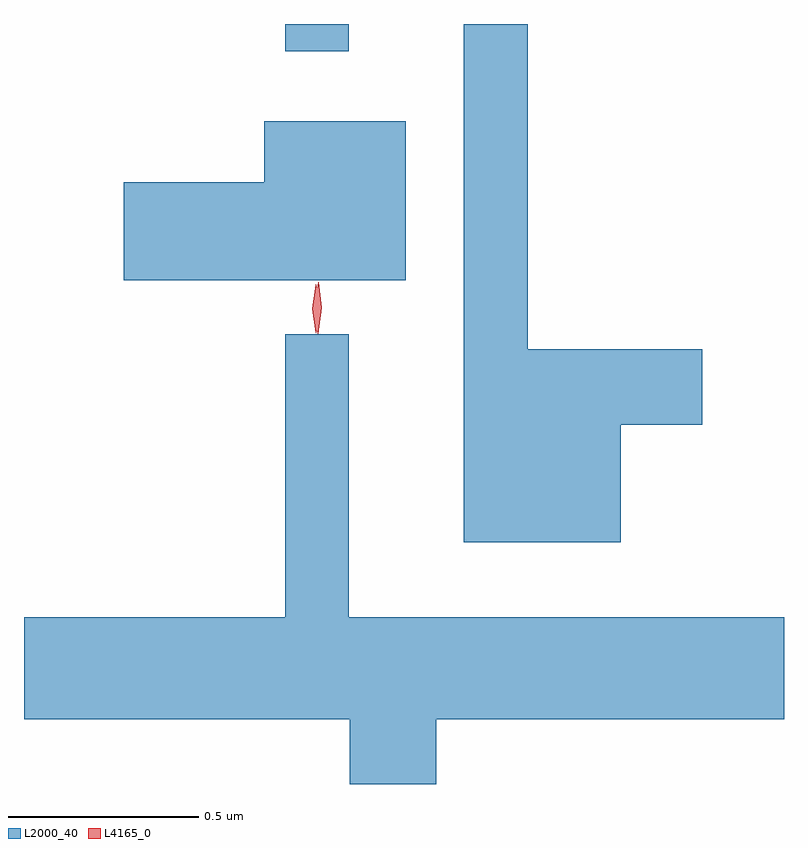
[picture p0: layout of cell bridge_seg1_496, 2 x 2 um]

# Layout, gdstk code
import gdstk
lib = gdstk.Library(unit=1e-6, precision=1e-09)
def R(c, l, rs):  # rectangles x0, y0, x1, y1
    for r in rs: c.add(gdstk.rectangle(r[:2], r[2:], *l))
def P(c, l, *ps):  # polygons
    for p in ps: c.add(gdstk.Polygon(p, *l))
L2000_40 = (2000, 40)
L4165_0 = (4165, 0)

bridge_seg1_496 = lib.new_cell('bridge_seg1_496')
R(bridge_seg1_496, L2000_40, [(511.351,850.273,511.519,850.345)])
P(bridge_seg1_496, L2000_40, [(512.234,849.291),(512.449,849.291),(512.449,849.489),(511.989,849.489),(511.989,850.345),(511.821,850.345),(511.821,848.981),(512.234,848.981)],
  [(511.669,850.089),(511.296,850.089),(511.296,849.929),(510.926,849.929),(510.926,849.671),(511.669,849.671)],
  [(511.749,848.516),(512.664,848.516),(512.664,848.784),(511.519,848.784),(511.519,849.528),(511.351,849.528),(511.351,848.784),(510.664,848.784),(510.664,848.516),(511.521,848.516),(511.521,848.345),(511.749,848.345)])
P(bridge_seg1_496, L4165_0, [(511.432,849.533),(511.432,849.533),(511.422,849.596),(511.432,849.659),(511.432,849.66),(511.433,849.659),(511.442,849.596),(511.433,849.533)],
  [(511.437,849.53),(511.437,849.53),(511.428,849.598),(511.438,849.666),(511.439,849.666),(511.439,849.666),(511.448,849.598),(511.438,849.53)])

lib.write_gds('bridge_seg1_496.gds')
